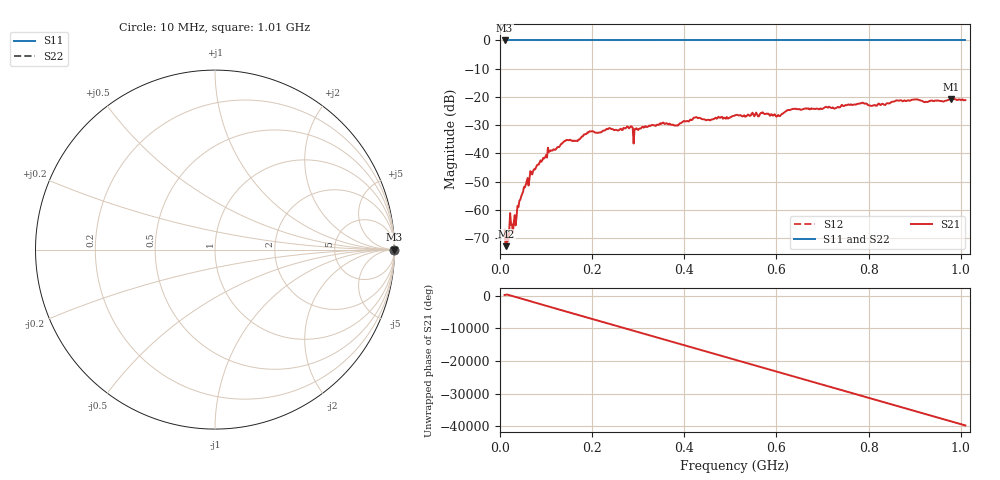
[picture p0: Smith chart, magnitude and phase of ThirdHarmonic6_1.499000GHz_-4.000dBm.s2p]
! 8/16/2025 5:35:50 PM
! C:\ANRITSUVNA\TEMP\TEMP.S2P
! CHANNEL.1
! TR.MEASUREMENT
! RAW.DATA
! RF.CORRECTION.OFF
! AVERAGING.OFF
! IF.BANDWIDTH: 5KHZ
! SWEEPTYPE:  FREQ.SWEEP(Linear)
! Reference Plane Port Info
! PORT:  PORT1  PORT2
! DISTANCE:  0  m  0  m
! TIME:  0  s  0  s
! PHASE.OFFSET:  0  deg.  0  deg.
! LOSS:  0  dB  0  dB
! REF.LOSS:  0  dB  0  dB
! REF.FREQ:  0  Hz  0  Hz
! Power Info
! POWER:  -20  dBm  -20  dBm
! EFF.POWER:  -20  dBm  -20  dBm
! SOURCE.ATTEN:  0  dB  0  dB
! TEST.ATTEN:  0  dB  0  dB
# GHZ S RI R 50.0
! FREQ.GHZ  S11RE  S11IM  S21RE  S21IM  S12RE  S12IM  S22RE  S22IM
!; PortSelection: Port_12
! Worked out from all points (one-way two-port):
!   501 points, 10 MHz to 1.01 GHz, reference 50 ohm
!   highest |S21| = -20.76 dB at 978 MHz (marker M1); lowest = -72.9 dB at 14 MHz (marker M2)
!   lowest |S11| = 0.0 dB at 10 MHz (marker M3)
!   |S11| at or under -10 dB: nowhere
!   |S22| runs from 0.0 to 0.0 dB; largest |S21 - S12| = 1.1
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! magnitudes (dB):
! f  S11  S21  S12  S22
! 10 MHz  0.0  -67.1  0.0  0.0
! 14 MHz  0.0  -72.9  0.0  0.0
! 16 MHz  0.0  -69.1  0.0  0.0
! 22 MHz  0.0  -61.2  0.0  0.0
! 32 MHz  0.0  -61.9  0.0  0.0
! 42 MHz  0.0  -56.8  0.0  0.0
! 56 MHz  0.0  -51.1  0.0  0.0
! 70 MHz  0.0  -47.5  0.0  0.0
! 108 MHz  0.0  -39.3  0.0  0.0
! 178 MHz  0.0  -34.0  0.0  0.0
! 198 MHz  0.0  -32.3  0.0  0.0
! 280 MHz  0.0  -31.1  0.0  0.0
! 294 MHz  0.0  -31.3  0.0  0.0
! 344 MHz  0.0  -29.9  0.0  0.0
! 382 MHz  0.0  -30.2  0.0  0.0
! 510 MHz  0.0  -26.5  0.0  0.0
! 604 MHz  0.0  -26.4  0.0  0.0
! 634 MHz  0.0  -24.3  0.0  0.0
! 678 MHz  0.0  -24.2  0.0  0.0
! 844 MHz  0.0  -22.3  0.0  0.0
! 978 MHz  0.0  -20.8  0.0  0.0
! 1.01 GHz  0.0  -21.1  0.0  0.0
